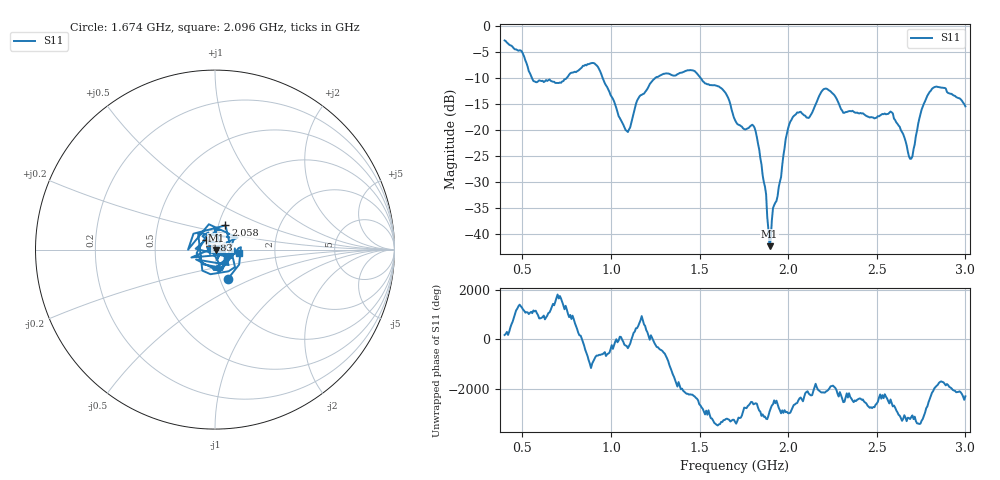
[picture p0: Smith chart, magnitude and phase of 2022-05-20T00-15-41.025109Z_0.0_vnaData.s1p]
!Created with skrf (http://scikit-rf.org).
# Hz S RI R 50.0
!freq ReS11 ImS11
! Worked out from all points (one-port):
!   401 points, 400 MHz to 3 GHz, reference 50 ohm
!   lowest |S11| = -42.3 dB at 1.895 GHz (marker M1), VSWR 1.02, Z = 50.7 - j0.317 ohm
!   |S11| at or under -10 dB: 554.3 MHz to 750.1 MHz (195.8 MHz wide, 30 % of centre); 953.3 MHz to 1.25 GHz (296.5 MHz wide, 26.9 % of centre); 1.506 GHz to end of sweep
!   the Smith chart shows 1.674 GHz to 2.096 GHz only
!   S11 on the Smith chart (normalised r, x): 1.674 GHz: 1.09, -0.36; 1.83 GHz: 0.90, +0.10; 2.058 GHz: 1.08, +0.30; 2.096 GHz: 1.31, -0.06
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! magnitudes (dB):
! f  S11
! 400 MHz  -2.8
! 497.5 MHz  -4.9
! 569 MHz  -10.6
! 725 MHz  -10.7
! 907 MHz  -7.2
! 1.05 GHz  -17.7
! 1.095 GHz  -20.4
! 1.154 GHz  -13.9
! 1.232 GHz  -10.6
! 1.375 GHz  -9.3
! 1.466 GHz  -8.6
! 1.674 GHz  -15.0
! 1.7 GHz  -18.1
! 1.804 GHz  -19.2
! 1.83 GHz  -22.6
! 1.895 GHz  -42.3
! 1.992 GHz  -20.7
! 2.025 GHz  -17.6
! 2.058 GHz  -16.7
! 2.096 GHz  -17.2
! 2.207 GHz  -12.1
! 2.35 GHz  -16.3
! 2.578 GHz  -16.4
! 2.675 GHz  -24.1
! 2.701 GHz  -25.0
! 2.753 GHz  -16.1
! 2.818 GHz  -11.9
! 3 GHz  -15.4
